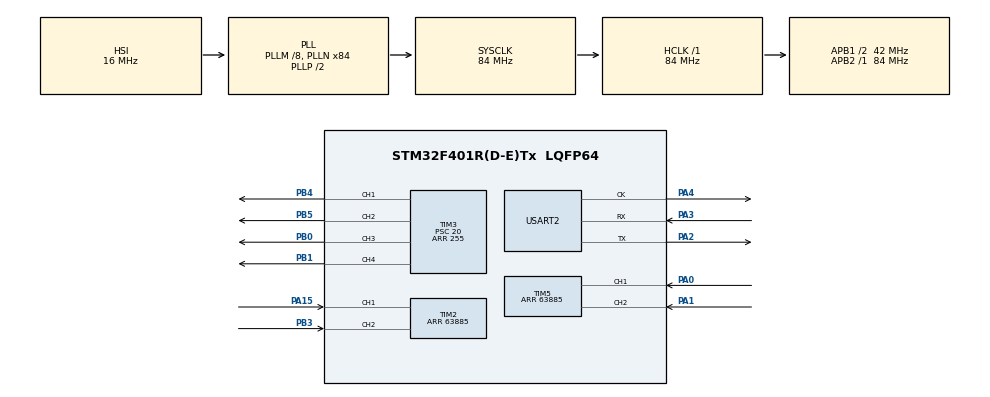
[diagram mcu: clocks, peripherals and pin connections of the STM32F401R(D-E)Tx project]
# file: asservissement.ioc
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Mcu.Family=STM32F4
Mcu.Name=STM32F401R(D-E)Tx
Mcu.Package=LQFP64
NVIC.PriorityGroup=NVIC_PRIORITYGROUP_4
PA0-WKUP.GPIO_PuPd=GPIO_PULLUP
PA0-WKUP.Signal=S_TIM5_CH1
PA1.GPIO_PuPd=GPIO_PULLUP
PA1.Signal=S_TIM5_CH2
PA14.Signal=SYS_JTCK-SWCLK
PA15.GPIO_PuPd=GPIO_PULLUP
PA15.Signal=S_TIM2_CH1_ETR
PA2.Mode=Synchronous
PA2.Signal=USART2_TX
PA3.Mode=Synchronous
PA3.Signal=USART2_RX
PA4.Mode=Synchronous
PA4.Signal=USART2_CK
PB0.Signal=S_TIM3_CH3
PB1.Signal=S_TIM3_CH4
PB3.GPIO_ModeDefaultPP=GPIO_MODE_AF_PP
PB3.GPIO_PuPd=GPIO_PULLUP
PB3.Signal=S_TIM2_CH2
PB4.Signal=S_TIM3_CH1
PB5.Signal=S_TIM3_CH2
ProjectManager.HeapSize=0x200
ProjectManager.StackSize=0x400
ProjectManager.TargetToolchain=Makefile
RCC.48MHZClocksFreq_Value=42000000
RCC.AHBFreq_Value=84000000
RCC.APB1CLKDivider=RCC_HCLK_DIV2
RCC.APB1Freq_Value=42000000
RCC.APB1TimFreq_Value=84000000
RCC.APB2Freq_Value=84000000
RCC.APB2TimFreq_Value=84000000
RCC.CortexFreq_Value=84000000
RCC.HCLKFreq_Value=84000000
RCC.HSE_VALUE=25000000
RCC.HSI_VALUE=16000000
RCC.LSE_VALUE=32768
RCC.PLLM=8
RCC.PLLN=84
RCC.SYSCLKFreq_VALUE=84000000
RCC.SYSCLKSource=RCC_SYSCLKSOURCE_PLLCLK
RCC.VCOOutputFreq_Value=168000000
SH.S_TIM2_CH1_ETR.0=TIM2_CH1,Encoder_Interface
SH.S_TIM2_CH2.0=TIM2_CH2,Encoder_Interface
SH.S_TIM3_CH1.0=TIM3_CH1,PWM Generation1 CH1
SH.S_TIM3_CH2.0=TIM3_CH2,PWM Generation2 CH2
SH.S_TIM3_CH3.0=TIM3_CH3,PWM Generation3 CH3
SH.S_TIM3_CH4.0=TIM3_CH4,PWM Generation4 CH4
SH.S_TIM5_CH1.0=TIM5_CH1,Encoder_Interface
SH.S_TIM5_CH2.0=TIM5_CH2,Encoder_Interface
TIM2.EncoderMode=TIM_ENCODERMODE_TI12
TIM2.Period=63885
TIM3.Channel-PWM\ Generation1\ CH1=TIM_CHANNEL_1
TIM3.Channel-PWM\ Generation2\ CH2=TIM_CHANNEL_2
TIM3.Channel-PWM\ Generation3\ CH3=TIM_CHANNEL_3
TIM3.Channel-PWM\ Generation4\ CH4=TIM_CHANNEL_4
TIM3.Period=255
TIM3.Prescaler=20
TIM3.Pulse-PWM\ Generation1\ CH1=50
TIM3.Pulse-PWM\ Generation2\ CH2=50
TIM3.Pulse-PWM\ Generation3\ CH3=50
TIM3.Pulse-PWM\ Generation4\ CH4=50
TIM5.Period=63885
USART2.VirtualMode=VM_SYNC
board=custom

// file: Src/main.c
/* USER CODE BEGIN Header */
/**
  ******************************************************************************
  * @file           : main.c
  * @brief          : Main program body
  ******************************************************************************
  ** This notice applies to any and all portions of this file
  * that are not between comment pairs USER CODE BEGIN and
  * USER CODE END. Other portions of this file, whether
  * inserted by the user or by software development tools
  * are owned by their respective copyright owners.
  *
  * COPYRIGHT(c) 2019 STMicroelectronics
  *
  * Redistribution and use in source and binary forms, with or without modification,
  * are permitted provided that the following conditions are met:
  *   1. Redistributions of source code must retain the above copyright notice,
  *      this list of conditions and the following disclaimer.
  *   2. Redistributions in binary form must reproduce the above copyright notice,
  *      this list of conditions and the following disclaimer in the documentation
  *      and/or other materials provided with the distribution.
  *   3. Neither the name of STMicroelectronics nor the names of its contributors
  *      may be used to endorse or promote products derived from this software
  *      without specific prior written permission.
  *
  * THIS SOFTWARE IS PROVIDED BY THE COPYRIGHT HOLDERS AND CONTRIBUTORS "AS IS"
  * AND ANY EXPRESS OR IMPLIED WARRANTIES, INCLUDING, BUT NOT LIMITED TO, THE
  * IMPLIED WARRANTIES OF MERCHANTABILITY AND FITNESS FOR A PARTICULAR PURPOSE ARE
  * DISCLAIMED. IN NO EVENT SHALL THE COPYRIGHT HOLDER OR CONTRIBUTORS BE LIABLE
  * FOR ANY DIRECT, INDIRECT, INCIDENTAL, SPECIAL, EXEMPLARY, OR CONSEQUENTIAL
  * DAMAGES (INCLUDING, BUT NOT LIMITED TO, PROCUREMENT OF SUBSTITUTE GOODS OR
  * SERVICES; LOSS OF USE, DATA, OR PROFITS; OR BUSINESS INTERRUPTION) HOWEVER
  * CAUSED AND ON ANY THEORY OF LIABILITY, WHETHER IN CONTRACT, STRICT LIABILITY,
  * OR TORT (INCLUDING NEGLIGENCE OR OTHERWISE) ARISING IN ANY WAY OUT OF THE USE
  * OF THIS SOFTWARE, EVEN IF ADVISED OF THE POSSIBILITY OF SUCH DAMAGE.
  *
  ******************************************************************************
  */
/* USER CODE END Header */

#include "main.h"
#include "tim.h"
#include "usart.h"
#include "gpio.h"
#include "encoder.h"
/* USER CODE BEGIN Includes */
#include "stm32f4xx_hal.h"

/* USER CODE END Includes */

void SystemClock_Config(void);

int main(void)
{

  /* MCU Configuration--------------------------------------------------------*/

  /* Reset of all peripherals, Initializes the Flash interface and the Systick. */
  HAL_Init();

  /* Configure the system clock */
  SystemClock_Config();

  /* Initialize all configured peripherals */
  MX_GPIO_Init();
  MX_TIM3_Init();
  MX_TIM2_Init();
  MX_USART2_Init();
  MX_TIM5_Init();
  /* USER CODE BEGIN 2 */
  HAL_TIM_Base_Start(&htim3);
  HAL_TIM_Base_Start(&htim5);
  HAL_TIM_Base_Start(&htim2);
  HAL_TIM_Base_Start_IT(&htim2);
  HAL_TIM_Base_Start_IT(&htim5);
	HAL_TIM_PWM_Start(& htim3, TIM_CHANNEL_1);
	HAL_TIM_PWM_Start(& htim3, TIM_CHANNEL_2);
  HAL_TIM_PWM_Start(& htim3, TIM_CHANNEL_3);
	HAL_TIM_PWM_Start(& htim3, TIM_CHANNEL_4);
  //distance_encoder=10;

/*
void navigation(asservissement* asserv,parametre* cstes){
    int i=0;
    (asserv->perreur)->x=255;
    (asserv->perreur)->y=255;

    *(asserv->pconsigne->gauche)=255;
    *(asserv->pconsigne->droite)=255;
    commande_moteur((asserv->pconsigne->gauche),(asserv->pconsigne->droite));
}
*/
  //void init(int nbpoint,int epsilon,Point* cap,int* ptheta,unsigned int* cnt_droite,
//  unsigned int* cnt_gauche,unsigned int* pdistanceparcourue_droite,unsigned int* pdistanceparcourue_gauche,int* px,int* py,int* moy_prev,int* pconsigne_gauche,int* pconsigne_droite);
  /* USER CODE END 2 */

  /* Infinite loop */
  /* USER CODE BEGIN WHILE */
  while (1)
  {
       // htim3.Instance->CCR1 = 160;
      //htim3.Instance->CCR2 = 0;
      //htim3.Instance->CCR3 = 130;
      //htim3.Instance->CCR4 = 0;
     /**pconsigne_droite=120;
     *pconsigne_gauche=120;
     commande_moteur(pconsigne_gauche,pconsigne_droite);*///commande des moteurs fonctionne
    *px=0;
    *py=0;
    consigne(0.1,200,0,px,py,pconsigne_gauche,pconsigne_droite,0);
    commande_moteur(pconsigne_gauche,pconsigne_droite);
    printf(" %ld \n",(&htim2)->Instance->CNT);
    printf(" %ld \n",(&htim5)->Instance->CNT);
    theta(ptheta,cnt_droite,cnt_gauche,distance_encoder);
    mise_a_jour_distance(pdistanceparcourue_droite,pdistanceparcourue_gauche);
    mise_a_jour_x_y(px,py,ptheta,moy_prev,pdistanceparcourue_droite,pdistanceparcourue_gauche);
    /*

    */
    ///*
    //commande_moteur((asserv->pconsigne->gauche),(asserv->pconsigne->droite));
    //*/
    //navigation(nbpoint,epsilon,cap,ptheta,cnt_droite, cnt_gauche, pdistanceparcourue_droite,pdistanceparcourue_gauche, px, py, moy_prev, pconsigne_gauche,pconsigne_droite);

    //    navigation(asserv,cstes);

/*
  int i=0;
  int erreur_x=255;
  int erreur_y=255;
  int objectif_x=20;
  int objectif_y=20;
/*  for(i=0;i<nbpoint;i++){
    objectif_x=(cap+i)->x;
    objectif_y=(cap+i)->y;
*/
  //  while(epsilon<erreur_x || epsilon<erreur_y){
//*//*
/*
      theta(ptheta,cnt_droite,cnt_gauche,distance_encoder);
      mise_a_jour_distance(pdistanceparcourue_droite,pdistanceparcourue_gauche);
      mise_a_jour_x_y(px,py,ptheta,moy_prev,pdistanceparcourue_droite,pdistanceparcourue_gauche);

      consigne(epsilon,objectif_x,objectif_y,px,py,pconsigne_gauche,pconsigne_droite,ptheta);

      //*pconsigne_gauche=120;
      //*pconsigne_droite=120;
     /* if (*px>0.001){*/
/*      commande_moteur(pconsigne_gauche,pconsigne_droite);
      erreur_x=*px-objectif_x;
      erreur_y=*py-objectif_y;
    /*}
    else{
      htim3.Instance->CCR1 = 0;
      htim3.Instance->CCR2 = 0;
      htim3.Instance->CCR3 = 0;
      htim3.Instance->CCR4 = 0;
    }}*/
    }
  }

    /* USER CODE END WHILE */

void SystemClock_Config(void)
{
  RCC_OscInitTypeDef RCC_OscInitStruct = {0};
  RCC_ClkInitTypeDef RCC_ClkInitStruct = {0};

  /**Configure the main internal regulator output voltage
  */
  __HAL_RCC_PWR_CLK_ENABLE();
  __HAL_PWR_VOLTAGESCALING_CONFIG(PWR_REGULATOR_VOLTAGE_SCALE2);
  /**Initializes the CPU, AHB and APB busses clocks
  */
  RCC_OscInitStruct.OscillatorType = RCC_OSCILLATORTYPE_HSI;
  RCC_OscInitStruct.HSIState = RCC_HSI_ON;
  RCC_OscInitStruct.HSICalibrationValue = RCC_HSICALIBRATION_DEFAULT;
  RCC_OscInitStruct.PLL.PLLState = RCC_PLL_ON;
  RCC_OscInitStruct.PLL.PLLSource = RCC_PLLSOURCE_HSI;
  RCC_OscInitStruct.PLL.PLLM = 8;
  RCC_OscInitStruct.PLL.PLLN = 84;
  RCC_OscInitStruct.PLL.PLLP = RCC_PLLP_DIV2;
  RCC_OscInitStruct.PLL.PLLQ = 4;
  if (HAL_RCC_OscConfig(&RCC_OscInitStruct) != HAL_OK)
  {
    Error_Handler();
  }
  /**Initializes the CPU, AHB and APB busses clocks
  */
  RCC_ClkInitStruct.ClockType = RCC_CLOCKTYPE_HCLK|RCC_CLOCKTYPE_SYSCLK
                              |RCC_CLOCKTYPE_PCLK1|RCC_CLOCKTYPE_PCLK2;
  RCC_ClkInitStruct.SYSCLKSource = RCC_SYSCLKSOURCE_PLLCLK;
  RCC_ClkInitStruct.AHBCLKDivider = RCC_SYSCLK_DIV1;
  RCC_ClkInitStruct.APB1CLKDivider = RCC_HCLK_DIV2;
  RCC_ClkInitStruct.APB2CLKDivider = RCC_HCLK_DIV1;

  if (HAL_RCC_ClockConfig(&RCC_ClkInitStruct, FLASH_LATENCY_2) != HAL_OK)
  {
    Error_Handler();
  }
}

void Error_Handler(void)
{
}

/************************ (C) COPYRIGHT STMicroelectronics *****END OF FILE****/
